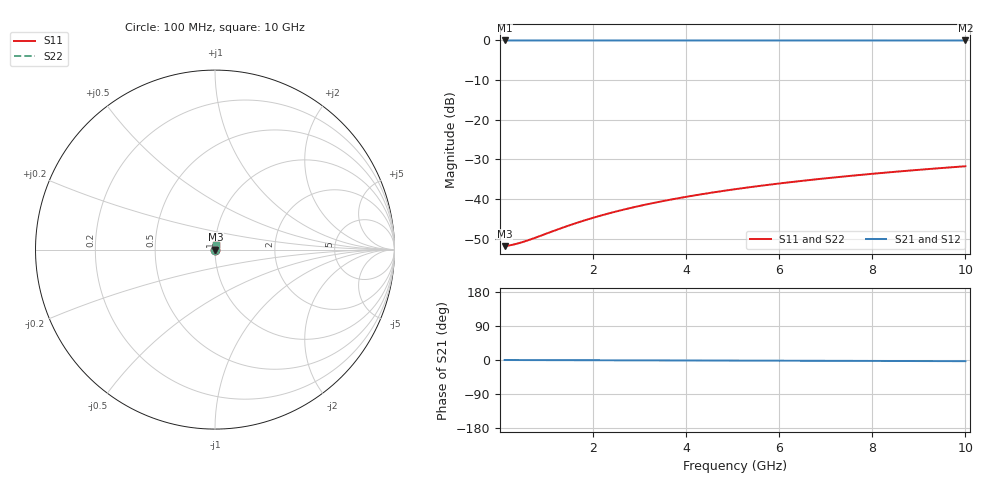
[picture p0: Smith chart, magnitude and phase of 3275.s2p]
# Hz S RI R 50.00
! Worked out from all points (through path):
!   100 points, 100 MHz to 10 GHz, reference 50 ohm
!   highest |S21| = -0.02 dB at 100 MHz (marker M1); lowest = 0.0 dB at 10 GHz (marker M2)
!   lowest |S11| = -51.9 dB at 100 MHz (marker M3), VSWR 1.01, Z = 50.3 + j0.0257 ohm
!   |S11| at or under -10 dB: start of sweep to end of sweep
!   |S22| runs from -51.9 to -31.8 dB; largest |S21 - S12| = 0
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1e8  0.00252 0.000256  0.9975 -0.000537  0.9975 -0.000537  0.00252 0.000256
2e8  0.00254 0.000511  0.9975 -0.00107  0.9975 -0.00107  0.00254 0.000511
3e8  0.00255 0.000767  0.9974 -0.00161  0.9974 -0.00161  0.00255 0.000767
4e8  0.00256 0.00102  0.9974 -0.00215  0.9974 -0.00215  0.00256 0.00102
5e8  0.00257 0.00128  0.9974 -0.00269  0.9974 -0.00269  0.00257 0.00128
7e8  0.00259 0.00179  0.9974 -0.00376  0.9974 -0.00376  0.00259 0.00179
1.4e9  0.00265 0.00358  0.9973 -0.00752  0.9973 -0.00752  0.00265 0.00358
1.8e9  0.00268 0.0046  0.9973 -0.00967  0.9973 -0.00967  0.00268 0.0046
2.2e9  0.00271 0.00562  0.9973 -0.0118  0.9973 -0.0118  0.00271 0.00562
2.6e9  0.00275 0.00665  0.9972 -0.014  0.9972 -0.014  0.00275 0.00665
3e9  0.00279 0.00767  0.9972 -0.0161  0.9972 -0.0161  0.00279 0.00767
3.4e9  0.00284 0.00869  0.9971 -0.0183  0.9971 -0.0183  0.00284 0.00869
3.8e9  0.00289 0.00971  0.997 -0.0204  0.997 -0.0204  0.00289 0.00971
4.2e9  0.00294 0.0107  0.997 -0.0226  0.997 -0.0226  0.00294 0.0107
4.6e9  0.003 0.0118  0.9969 -0.0247  0.9969 -0.0247  0.003 0.0118
5.1e9  0.00307 0.013  0.9968 -0.0274  0.9968 -0.0274  0.00307 0.013
5.9e9  0.00321 0.0151  0.9966 -0.0317  0.9966 -0.0317  0.00321 0.0151
6.7e9  0.00336 0.0171  0.9964 -0.036  0.9964 -0.036  0.00336 0.0171
7.5e9  0.00353 0.0191  0.9962 -0.0403  0.9962 -0.0403  0.00353 0.0191
8.4e9  0.00375 0.0214  0.9959 -0.0451  0.9959 -0.0451  0.00375 0.0214
9.2e9  0.00396 0.0235  0.9957 -0.0494  0.9957 -0.0494  0.00396 0.0235
1e10  0.00418 0.0255  0.9954 -0.0537  0.9954 -0.0537  0.00418 0.0255
